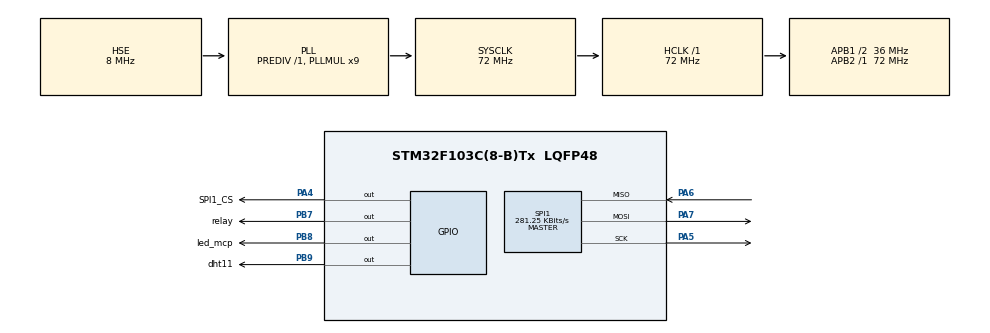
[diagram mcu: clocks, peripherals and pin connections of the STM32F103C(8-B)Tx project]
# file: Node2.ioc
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Mcu.Family=STM32F1
Mcu.Name=STM32F103C(8-B)Tx
Mcu.Package=LQFP48
NVIC.PriorityGroup=NVIC_PRIORITYGROUP_4
PA13.Mode=Serial_Wire
PA13.Signal=SYS_JTMS-SWDIO
PA14.Mode=Serial_Wire
PA14.Signal=SYS_JTCK-SWCLK
PA4.GPIO_Label=SPI1_CS
PA4.PinState=GPIO_PIN_SET
PA4.Signal=GPIO_Output
PA5.Mode=Full_Duplex_Master
PA5.Signal=SPI1_SCK
PA6.Mode=Full_Duplex_Master
PA6.Signal=SPI1_MISO
PA7.Mode=Full_Duplex_Master
PA7.Signal=SPI1_MOSI
PB7.GPIO_Label=relay
PB7.Signal=GPIO_Output
PB8.GPIO_Label=led_mcp
PB8.Signal=GPIO_Output
PB9.GPIO_Label=dht11
PB9.Signal=GPIO_Output
PD0-OSC_IN.Mode=HSE-External-Oscillator
PD0-OSC_IN.Signal=RCC_OSC_IN
PD1-OSC_OUT.Mode=HSE-External-Oscillator
PD1-OSC_OUT.Signal=RCC_OSC_OUT
ProjectManager.HeapSize=0x200
ProjectManager.StackSize=0x400
ProjectManager.TargetToolchain=MDK-ARM V5
RCC.AHBFreq_Value=72000000
RCC.APB1CLKDivider=RCC_HCLK_DIV2
RCC.APB1Freq_Value=36000000
RCC.APB1TimFreq_Value=72000000
RCC.APB2Freq_Value=72000000
RCC.APB2TimFreq_Value=72000000
RCC.HCLKFreq_Value=72000000
RCC.PLLMUL=RCC_PLL_MUL9
RCC.PLLSourceVirtual=RCC_PLLSOURCE_HSE
RCC.SYSCLKFreq_VALUE=72000000
RCC.SYSCLKSource=RCC_SYSCLKSOURCE_PLLCLK
RCC.USBFreq_Value=72000000
SPI1.BaudRatePrescaler=SPI_BAUDRATEPRESCALER_256
SPI1.CalculateBaudRate=281.25 KBits/s
SPI1.DataSize=SPI_DATASIZE_8BIT
SPI1.Direction=SPI_DIRECTION_2LINES
SPI1.Mode=SPI_MODE_MASTER
SPI1.VirtualType=VM_MASTER
TIM1.Prescaler=71
VP_TIM1_VS_ClockSourceINT.Mode=Internal
board=custom

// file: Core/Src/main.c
/* USER CODE BEGIN Header */
/**
  ******************************************************************************
  * @file           : main.c
  * @brief          : Main program body
  ******************************************************************************
  * @attention
  *
  * Copyright (c) 2024 STMicroelectronics.
  * All rights reserved.
  *
  * This software is licensed under terms that can be found in the LICENSE file
  * in the root directory of this software component.
  * If no LICENSE file comes with this software, it is provided AS-IS.
  *
  ******************************************************************************
  */
/* USER CODE END Header */
#include "main.h"

/* USER CODE BEGIN Includes */
#include "stdio.h"
#include "CAN_SPI.h"
/* USER CODE END Includes */

SPI_HandleTypeDef hspi1;

TIM_HandleTypeDef htim1;

void SystemClock_Config(void);
static void MX_GPIO_Init(void);
static void MX_SPI1_Init(void);
static void MX_TIM1_Init(void);
/* USER CODE BEGIN PFP */
uint8_t DHT11_Start(void);
uint8_t DHT11_Read(void);
void readDHT11(void);
/* USER CODE END PFP */

/* USER CODE BEGIN 0 */
uCAN_MSG txMessage;
uCAN_MSG rxMessage;

uint8_t RHI, RHD, TCI, TCD, SUM;
uint32_t pMillis, cMillis;
float tCelsius = 0;
float tFahrenheit = 0;
float RH = 0;
uint8_t TFI = 0;
uint8_t TFD = 0;
char strCopy[15];

/* USER CODE END 0 */

int main(void)
{

  /* MCU Configuration--------------------------------------------------------*/

  /* Reset of all peripherals, Initializes the Flash interface and the Systick. */
  HAL_Init();

  /* Configure the system clock */
  SystemClock_Config();

  /* Initialize all configured peripherals */
  MX_GPIO_Init();
  MX_SPI1_Init();
  MX_TIM1_Init();
  /* USER CODE BEGIN 2 */
	CANSPI_Initialize();
	HAL_TIM_Base_Start(&htim1);
  /* USER CODE END 2 */

  /* Infinite loop */
  while (1)
  {

    /* USER CODE BEGIN 3 */
		 while (1){
			if(CANSPI_Receive(&rxMessage)){
				HAL_GPIO_TogglePin(led_mcp_GPIO_Port, led_mcp_Pin);
				if(rxMessage.frame.id == 0x01){
					if(rxMessage.frame.data2 == 1){
						HAL_GPIO_WritePin(relay_GPIO_Port, relay_Pin, GPIO_PIN_SET);
					}else{
						HAL_GPIO_WritePin(relay_GPIO_Port, relay_Pin, GPIO_PIN_RESET);
					}
					 break;
				}
			}
			}
			readDHT11();

			txMessage.frame.idType = dSTANDARD_CAN_MSG_ID_2_0B;
			txMessage.frame.id = 0x02;
			txMessage.frame.dlc = 4;
			txMessage.frame.data0 = TCI;
			txMessage.frame.data1 = TCD;
			txMessage.frame.data2 = RHI;
			txMessage.frame.data3 = RHD;
			CANSPI_Transmit(&txMessage);
	    HAL_Delay(1000);
  }
  /* USER CODE END 3 */
}

void SystemClock_Config(void)
{
  RCC_OscInitTypeDef RCC_OscInitStruct = {0};
  RCC_ClkInitTypeDef RCC_ClkInitStruct = {0};

  /** Initializes the RCC Oscillators according to the specified parameters
  * in the RCC_OscInitTypeDef structure.
  */
  RCC_OscInitStruct.OscillatorType = RCC_OSCILLATORTYPE_HSE;
  RCC_OscInitStruct.HSEState = RCC_HSE_ON;
  RCC_OscInitStruct.HSEPredivValue = RCC_HSE_PREDIV_DIV1;
  RCC_OscInitStruct.HSIState = RCC_HSI_ON;
  RCC_OscInitStruct.PLL.PLLState = RCC_PLL_ON;
  RCC_OscInitStruct.PLL.PLLSource = RCC_PLLSOURCE_HSE;
  RCC_OscInitStruct.PLL.PLLMUL = RCC_PLL_MUL9;
  if (HAL_RCC_OscConfig(&RCC_OscInitStruct) != HAL_OK)
  {
    Error_Handler();
  }

  /** Initializes the CPU, AHB and APB buses clocks
  */
  RCC_ClkInitStruct.ClockType = RCC_CLOCKTYPE_HCLK|RCC_CLOCKTYPE_SYSCLK
                              |RCC_CLOCKTYPE_PCLK1|RCC_CLOCKTYPE_PCLK2;
  RCC_ClkInitStruct.SYSCLKSource = RCC_SYSCLKSOURCE_PLLCLK;
  RCC_ClkInitStruct.AHBCLKDivider = RCC_SYSCLK_DIV1;
  RCC_ClkInitStruct.APB1CLKDivider = RCC_HCLK_DIV2;
  RCC_ClkInitStruct.APB2CLKDivider = RCC_HCLK_DIV1;

  if (HAL_RCC_ClockConfig(&RCC_ClkInitStruct, FLASH_LATENCY_2) != HAL_OK)
  {
    Error_Handler();
  }
}

static void MX_SPI1_Init(void)
{

  /* SPI1 parameter configuration*/
  hspi1.Instance = SPI1;
  hspi1.Init.Mode = SPI_MODE_MASTER;
  hspi1.Init.Direction = SPI_DIRECTION_2LINES;
  hspi1.Init.DataSize = SPI_DATASIZE_8BIT;
  hspi1.Init.CLKPolarity = SPI_POLARITY_LOW;
  hspi1.Init.CLKPhase = SPI_PHASE_1EDGE;
  hspi1.Init.NSS = SPI_NSS_SOFT;
  hspi1.Init.BaudRatePrescaler = SPI_BAUDRATEPRESCALER_256;
  hspi1.Init.FirstBit = SPI_FIRSTBIT_MSB;
  hspi1.Init.TIMode = SPI_TIMODE_DISABLE;
  hspi1.Init.CRCCalculation = SPI_CRCCALCULATION_DISABLE;
  hspi1.Init.CRCPolynomial = 10;
  if (HAL_SPI_Init(&hspi1) != HAL_OK)
  {
    Error_Handler();
  }

}

static void MX_TIM1_Init(void)
{

  TIM_ClockConfigTypeDef sClockSourceConfig = {0};
  TIM_MasterConfigTypeDef sMasterConfig = {0};

  htim1.Instance = TIM1;
  htim1.Init.Prescaler = 71;
  htim1.Init.CounterMode = TIM_COUNTERMODE_UP;
  htim1.Init.Period = 65535;
  htim1.Init.ClockDivision = TIM_CLOCKDIVISION_DIV1;
  htim1.Init.RepetitionCounter = 0;
  htim1.Init.AutoReloadPreload = TIM_AUTORELOAD_PRELOAD_DISABLE;
  if (HAL_TIM_Base_Init(&htim1) != HAL_OK)
  {
    Error_Handler();
  }
  sClockSourceConfig.ClockSource = TIM_CLOCKSOURCE_INTERNAL;
  if (HAL_TIM_ConfigClockSource(&htim1, &sClockSourceConfig) != HAL_OK)
  {
    Error_Handler();
  }
  sMasterConfig.MasterOutputTrigger = TIM_TRGO_RESET;
  sMasterConfig.MasterSlaveMode = TIM_MASTERSLAVEMODE_DISABLE;
  if (HAL_TIMEx_MasterConfigSynchronization(&htim1, &sMasterConfig) != HAL_OK)
  {
    Error_Handler();
  }

}

static void MX_GPIO_Init(void)
{
  GPIO_InitTypeDef GPIO_InitStruct = {0};

  /* GPIO Ports Clock Enable */
  __HAL_RCC_GPIOD_CLK_ENABLE();
  __HAL_RCC_GPIOA_CLK_ENABLE();
  __HAL_RCC_GPIOB_CLK_ENABLE();

  /*Configure GPIO pin Output Level */
  HAL_GPIO_WritePin(SPI1_CS_GPIO_Port, SPI1_CS_Pin, GPIO_PIN_SET);

  /*Configure GPIO pin Output Level */
  HAL_GPIO_WritePin(GPIOB, relay_Pin|led_mcp_Pin|dht11_Pin, GPIO_PIN_RESET);

  /*Configure GPIO pin : SPI1_CS_Pin */
  GPIO_InitStruct.Pin = SPI1_CS_Pin;
  GPIO_InitStruct.Mode = GPIO_MODE_OUTPUT_PP;
  GPIO_InitStruct.Pull = GPIO_NOPULL;
  GPIO_InitStruct.Speed = GPIO_SPEED_FREQ_LOW;
  HAL_GPIO_Init(SPI1_CS_GPIO_Port, &GPIO_InitStruct);

  /*Configure GPIO pins : relay_Pin led_mcp_Pin dht11_Pin */
  GPIO_InitStruct.Pin = relay_Pin|led_mcp_Pin|dht11_Pin;
  GPIO_InitStruct.Mode = GPIO_MODE_OUTPUT_PP;
  GPIO_InitStruct.Pull = GPIO_NOPULL;
  GPIO_InitStruct.Speed = GPIO_SPEED_FREQ_LOW;
  HAL_GPIO_Init(GPIOB, &GPIO_InitStruct);

}

/* USER CODE BEGIN 4 */
void microDelay (uint16_t delay)
{
  __HAL_TIM_SET_COUNTER(&htim1, 0);
  while (__HAL_TIM_GET_COUNTER(&htim1) < delay);
}

uint8_t DHT11_Start(void)
{
  uint8_t Response = 0;
  GPIO_InitTypeDef GPIO_InitStructPrivate = {0};
  GPIO_InitStructPrivate.Pin = dht11_Pin;
  GPIO_InitStructPrivate.Mode = GPIO_MODE_OUTPUT_PP;
  GPIO_InitStructPrivate.Speed = GPIO_SPEED_FREQ_LOW;
  GPIO_InitStructPrivate.Pull = GPIO_NOPULL;
  HAL_GPIO_Init(dht11_GPIO_Port, &GPIO_InitStructPrivate);
  HAL_GPIO_WritePin (dht11_GPIO_Port, dht11_Pin, 0);
  HAL_Delay(20);
  HAL_GPIO_WritePin (dht11_GPIO_Port, dht11_Pin, 1);
  microDelay (30);
  GPIO_InitStructPrivate.Mode = GPIO_MODE_INPUT;
  GPIO_InitStructPrivate.Pull = GPIO_PULLUP;
  HAL_GPIO_Init(dht11_GPIO_Port, &GPIO_InitStructPrivate);
  microDelay (40);
  if (!(HAL_GPIO_ReadPin (dht11_GPIO_Port, dht11_Pin)))
  {
    microDelay (80);
    if ((HAL_GPIO_ReadPin (dht11_GPIO_Port, dht11_Pin))) Response = 1;
  }
  pMillis = HAL_GetTick();
  cMillis = HAL_GetTick();
  while ((HAL_GPIO_ReadPin (dht11_GPIO_Port, dht11_Pin)) && pMillis + 2 > cMillis)
  {
    cMillis = HAL_GetTick();
  }
  return Response;
}

uint8_t DHT11_Read(void)
{
  uint8_t a,b;
  for (a=0;a<8;a++)
  {
    pMillis = HAL_GetTick();
    cMillis = HAL_GetTick();
    while (!(HAL_GPIO_ReadPin (dht11_GPIO_Port, dht11_Pin)) && pMillis + 2 > cMillis)
    {
      cMillis = HAL_GetTick();
    }
    microDelay (40);
    if (!(HAL_GPIO_ReadPin (dht11_GPIO_Port, dht11_Pin)))
      b&= ~(1<<(7-a));
    else
      b|= (1<<(7-a));
    pMillis = HAL_GetTick();
    cMillis = HAL_GetTick();
    while ((HAL_GPIO_ReadPin (dht11_GPIO_Port, dht11_Pin)) && pMillis + 2 > cMillis)
    {
      cMillis = HAL_GetTick();
    }
  }
  return b;
}
void readDHT11(void){
		if(DHT11_Start())
    {
      RHI = DHT11_Read(); // Relative humidity integral
      RHD = DHT11_Read(); // Relative humidity decimal
      TCI = DHT11_Read(); // Celsius integral
      TCD = DHT11_Read(); // Celsius decimal
      SUM = DHT11_Read(); // Check sum
      if (RHI + RHD + TCI + TCD == SUM)
      {
        // Can use RHI and TCI for any purposes if whole number only needed
        tCelsius = (float)TCI + (float)(TCD/10.0);
        tFahrenheit = tCelsius * 9/5 + 32;
        RH = (float)RHI + (float)(RHD/10.0);
        // Can use tCelsius, tFahrenheit and RH for any purposes
        TFI = tFahrenheit;  // Fahrenheit integral
        TFD = tFahrenheit*10-TFI*10; // Fahrenheit decimal

      }
    }
}
/* USER CODE END 4 */

void Error_Handler(void)
{
  __disable_irq();
  while (1)
  {
  }
}
